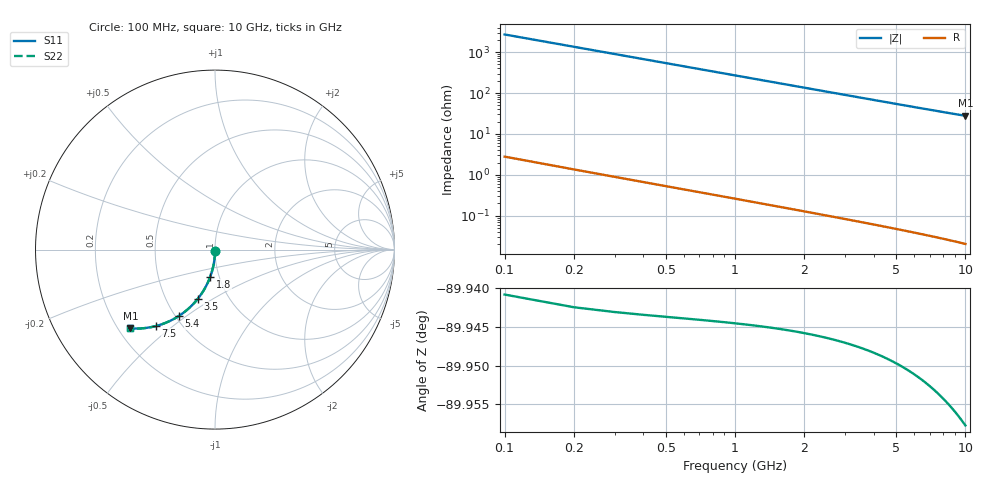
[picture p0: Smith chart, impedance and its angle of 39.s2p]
# Hz S RI R 50.00
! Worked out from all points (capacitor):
!   100 points, 100 MHz to 10 GHz, reference 50 ohm
!   read as one part in shunt: C = 589 fF near 100 MHz
!   lowest |Z| = 27.8 ohm at 10 GHz (marker M1)
!   S11 on the Smith chart (normalised r, x): 100 MHz: 1.00, -0.02; 1.8 GHz: 0.91, -0.28; 3.5 GHz: 0.72, -0.43; 5.4 GHz: 0.52, -0.47; 7.5 GHz: 0.36, -0.44; 10 GHz: 0.25, -0.37
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1e8  0.000185 -0.00867  0.9996 -0.00984  0.9996 -0.00984  0.000185 -0.00867
2e8  -7.77e-05 -0.0173  0.9994 -0.0197  0.9994 -0.0197  -7.77e-05 -0.0173
3e8  -0.000511 -0.026  0.9989 -0.0295  0.9989 -0.0295  -0.000511 -0.026
4e8  -0.00111 -0.0346  0.9983 -0.0393  0.9983 -0.0393  -0.00111 -0.0346
5e8  -0.00189 -0.0432  0.9975 -0.0491  0.9975 -0.0491  -0.00189 -0.0432
6e8  -0.00283 -0.0518  0.9966 -0.0589  0.9966 -0.0589  -0.00283 -0.0518
8e8  -0.00522 -0.069  0.9942 -0.0783  0.9942 -0.0783  -0.00522 -0.069
1.1e9  -0.01 -0.0943  0.9893 -0.1072  0.9893 -0.1072  -0.01 -0.0943
1.4e9  -0.0163 -0.1193  0.983 -0.1357  0.983 -0.1357  -0.0163 -0.1193
1.8e9  -0.0268 -0.1517  0.9724 -0.1728  0.9724 -0.1728  -0.0268 -0.1517
2.1e9  -0.0362 -0.1752  0.9629 -0.1998  0.9629 -0.1998  -0.0362 -0.1752
2.5e9  -0.0507 -0.2053  0.9483 -0.2346  0.9483 -0.2346  -0.0507 -0.2053
2.9e9  -0.0672 -0.2338  0.9316 -0.2679  0.9316 -0.2679  -0.0672 -0.2338
3.4e9  -0.0903 -0.2671  0.9083 -0.307  0.9083 -0.307  -0.0903 -0.2671
3.5e9  -0.0952 -0.2734  0.9034 -0.3145  0.9034 -0.3145  -0.0952 -0.2734
4.3e9  -0.1374 -0.3195  0.8607 -0.3701  0.8607 -0.3701  -0.1374 -0.3195
5.1e9  -0.1837 -0.3576  0.8139 -0.4177  0.8139 -0.4177  -0.1837 -0.3576
5.4e9  -0.2017 -0.3699  0.7957 -0.4335  0.7957 -0.4335  -0.2017 -0.3699
6.7e9  -0.2814 -0.4104  0.7148 -0.4897  0.7148 -0.4897  -0.2814 -0.4104
7.5e9  -0.3301 -0.426  0.6652 -0.5151  0.6652 -0.5151  -0.3301 -0.426
8.4e9  -0.3833 -0.4363  0.611 -0.5363  0.611 -0.5363  -0.3833 -0.4363
1e10  -0.4709 -0.4389  0.5212 -0.5588  0.5212 -0.5588  -0.4709 -0.4389
